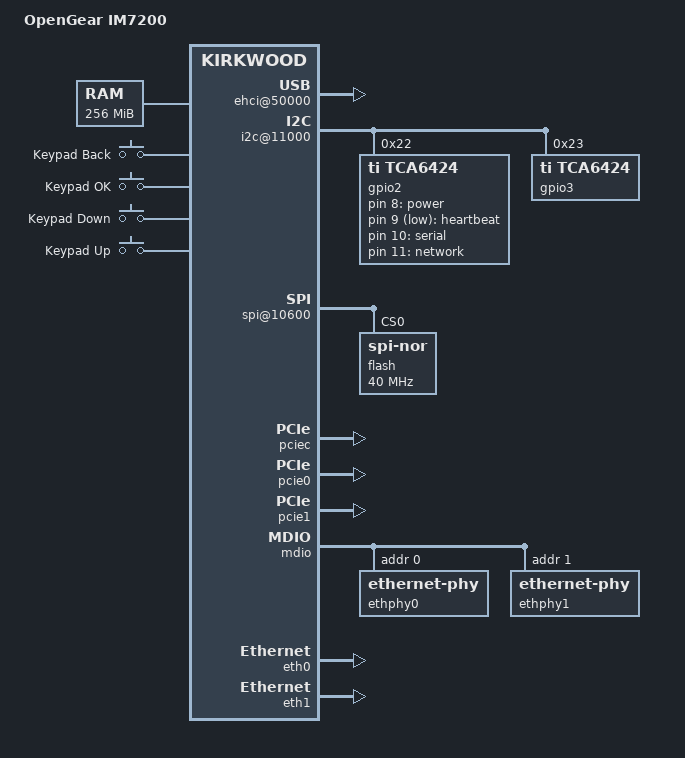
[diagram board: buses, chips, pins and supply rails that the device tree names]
/*
 * Device Tree file for OpenGear IM7200
 *
 * Greg Ungerer <gregory.ungerer@digi.com>
 *
 * This file is licensed under the terms of the GNU General Public
 * License version 2.  This program is licensed "as is" without any
 * warranty of any kind, whether express or implied.
 */

/dts-v1/;

#include "kirkwood.dtsi"
#include "kirkwood-6282.dtsi"

/ {
	model = "OpenGear IM7200";
	compatible = "opengear,im7200", "marvell,kirkwood-88f6282", "marvell,kirkwood";

	memory {
		device_type = "memory";
		reg = <0x00000000 0x10000000>;
	};

	chosen {
		bootargs = "console=ttyS0,115200n8 earlyprintk";
		/*stdout-path = &uart0;*/
	};

	ocp@f1000000 {
		ehci@50000 {
			status = "okay";
		};

		crypto@30000 {
			status = "okay";
		};

		i2c@11000 {
			status = "okay";

			gpio2: tca6464@22 {
				compatible = "ti,tca6424";
				reg = <0x22>;
				gpio-controller;
				#gpio-cells = <2>;
			};

			gpio3: tca6464@23 {
				compatible = "ti,tca6424";
				reg = <0x23>;
				gpio-controller;
				#gpio-cells = <2>;
			};
		};

		spi@10600 {
			status = "okay";

			flash@0 {
				#address-cells = <1>;
                                #size-cells = <1>;
                                compatible = "jedec,spi-nor";
                                reg = <0>;
                                spi-max-frequency = <40000000>;
                                mode = <0>;

				u-boot@0 {
					label = "u-boot";
					reg = <0x0 0x40000>;
				};

				u-boot-env@40000 {
					label = "u-boot config block";
					reg = <0x40000 0x20000>;
				};

				config@600000 {
					label = "config";
					reg = <0x60000 0x200000>;
				};

				image1@2600000 {
					label = "image #1";
					reg = <0x260000 0x1400000>;
				};

				image2@16600000 {
					label = "image #2";
					reg = <0x1660000 0x1400000>;
				};

				all@0 {
					label = "all";
					reg = <0x0 0x0>;
				};
			};
		};
	};

	gpio-keys {
		compatible = "gpio-keys-polled";
		poll-interval = <100>;

		gpio_key_1 {
			label = "Keypad Back";
			linux,code = <KEY_BACKSPACE>;
			.desc = <&gpio2 0 GPIO_ACTIVE_LOW>;
		};

		gpio_key_2 {
			label = "Keypad OK";
			linux,code = <KEY_ENTER>;
			.desc = <&gpio2 1 GPIO_ACTIVE_LOW>;
		};

		gpio_key_3 {
			label = "Keypad Down";
			linux,code = <KEY_DOWN>;
			.desc = <&gpio2 2 GPIO_ACTIVE_LOW>;
		};

		gpio_key_4 {
			label = "Keypad Up";
			linux,code = <KEY_UP>;
			.desc = <&gpio2 3 GPIO_ACTIVE_LOW>;
		};
	};

	gpio-leds {
		compatible = "gpio-leds";

		power {
			label = "power";
			gpios = <&gpio2 8 GPIO_ACTIVE_HIGH>;
			default-state = "on";
		};

		heartbeat {
			label = "heartbeat";
			gpios = <&gpio2 9 GPIO_ACTIVE_LOW>;
			linux,default-trigger = "heartbeat";
			default-state = "on";
		};

		serial {
			label = "serial";
			gpios = <&gpio2 10 GPIO_ACTIVE_HIGH>;
		};

		network {
			label = "network";
			gpios = <&gpio2 11 GPIO_ACTIVE_HIGH>;
		};
	};
};

&pciec {
	status = "okay";
};

&pcie0 {
	status = "okay";
};

&pcie1 {
	status = "okay";
};

&mdio {
	status = "okay";

	ethphy0: ethernet-phy@0 {
		reg = <0>;
	};

	ethphy1: ethernet-phy@1 {
		reg = <1>;
	};
};

&eth0 {
	status = "okay";

	ethernet0-port@0 {
		phy-handle = <&ethphy0>;
	};
};

&eth1 {
	status = "okay";

	ethernet1-port@0 {
		phy-handle = <&ethphy1>;
	};
};

&pinctrl {
	usb_a_enable_pin {
		marvell,pins = "mpp18";
		marvell.functions = "gpo";
	};

	usb_b_enable_pin {
		marvell,pins = "mpp19";
		marvell.functions = "gpo";
	};
};

